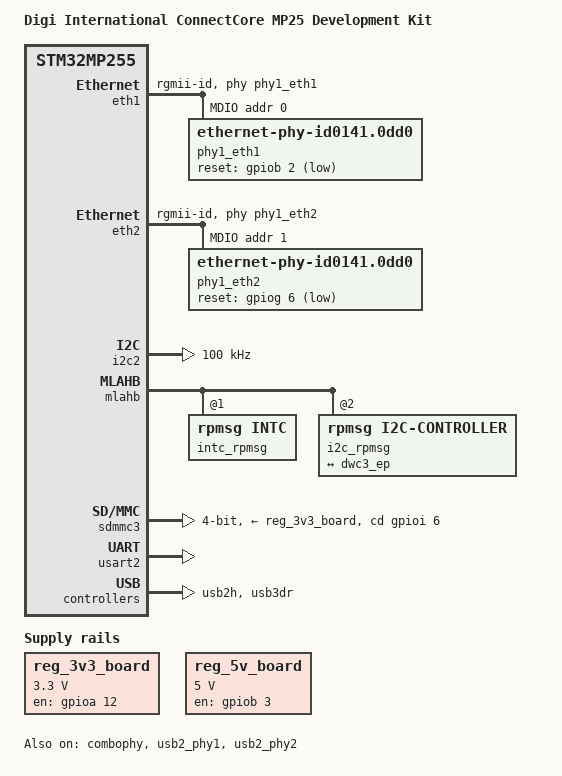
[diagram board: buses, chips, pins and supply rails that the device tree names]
// SPDX-License-Identifier: (GPL-2.0-or-later OR BSD-3-Clause)
/*
 * Copyright (C) STMicroelectronics 2023 - All Rights Reserved
 * Copyright (C) 2024, Digi International Inc - All Rights Reserved
 */

/dts-v1/;

#include <dt-bindings/gpio/gpio.h>
#include <dt-bindings/input/input.h>
#include <dt-bindings/leds/common.h>
#include <dt-bindings/regulator/st,stm32mp25-regulator.h>

/* Digi ConnectCore MP25 (SOM) */
#include "ccmp25.dtsi"

/ {
	model = "Digi International ConnectCore MP25 Development Kit";
	compatible = "digi,ccmp25-dvk", "digi,ccmp25", "st,stm32mp255";

	aliases {
		ethernet0 = &eth1;
		ethernet1 = &eth2;
		serial0 = &usart2;
	};

	chosen {
		stdout-path = "serial0:115200n8";
	};

	clocks {
		pad_clk: pad-clk {
			#clock-cells = <0>;
			compatible = "fixed-clock";
			clock-frequency = <100000000>;
		};
	};

	regulators {
		compatible = "simple-bus";
		#address-cells = <1>;
		#size-cells = <0>;

		reg_3v3_board: regulator-board@1 {
			compatible = "regulator-fixed";
			reg = <1>;
			regulator-name = "3v3_board";
			regulator-min-microvolt = <3300000>;
			regulator-max-microvolt = <3300000>;
			gpio = <&gpioa 12 GPIO_ACTIVE_HIGH>; /* 3V3_BOARD_EN */
			enable-active-high;
			status = "okay";
		};

		reg_5v_board: regulator-board@2 {
			compatible = "regulator-fixed";
			reg = <2>;
			regulator-name = "5v_board";
			regulator-min-microvolt = <5000000>;
			regulator-max-microvolt = <5000000>;
			gpio = <&gpiob 3 GPIO_ACTIVE_HIGH>; /* 5V_BOARD_EN */
			enable-active-high;
			status = "okay";
		};
	};
};

&combophy {
	clocks = <&rcc CK_BUS_USB3PCIEPHY>, <&rcc CK_KER_USB3PCIEPHY>, <&pad_clk>;
	clock-names = "apb-clk", "ker-clk", "pad-clk";
	status = "okay";
};

&eth1 {
	status = "okay";
	pinctrl-0 = <&eth1_rgmii_pins_a &eth1_mdio_pins_a>;
	pinctrl-names = "default";
	phy-mode = "rgmii-id";
	max-speed = <1000>;
	phy-handle = <&phy1_eth1>;
	snps,ext-systime;

	/* ETH1 connected to the mdio bus ETH1_MDIO */
	mdio1 {
		#address-cells = <1>;
		#size-cells = <0>;
		compatible = "snps,dwmac-mdio";

		phy1_eth1: ethernet-phy@0 {
			compatible = "ethernet-phy-id0141.0dd0"; /* PHY ID for Marvell 88E1512 */
			reset-gpios =  <&gpiob 2 GPIO_ACTIVE_LOW>; /* ETH1_RST */
			reset-assert-us = <1000>;
			reset-deassert-us = <2000>;
			reg = <0>;
		};
	};
};

&eth2 {
	status = "okay";
	pinctrl-0 = <&eth2_rgmii_pins_a>;
	pinctrl-names = "default";
	phy-mode = "rgmii-id";
	max-speed = <1000>;
	phy-handle = <&phy1_eth2>;
	st,eth-ptp-from-rcc;

	mdio1 {
		#address-cells = <1>;
		#size-cells = <0>;
		compatible = "snps,dwmac-mdio";
		phy1_eth2: ethernet-phy@1 {
			compatible = "ethernet-phy-id0141.0dd0"; /* PHY ID for Marvell 88E1512 */
			reset-gpios =  <&gpiog 6 GPIO_ACTIVE_LOW>; /* ETH2_RST */
			reset-assert-us = <1000>;
			reset-deassert-us = <2000>;
			reg = <1>;
		};
	};
};

&i2c2 {
	pinctrl-names = "default", "sleep";
	pinctrl-0 = <&i2c2_pins_a>;
	pinctrl-1 = <&i2c2_sleep_pins_a>;
	i2c-scl-rising-time-ns = <185>;
	i2c-scl-falling-time-ns = <20>;
	clock-frequency = <100000>;
	status = "okay";
	/* spare dmas for other usage */
	/delete-property/dmas;
	/delete-property/dma-names;
};

&mlahb {
	intc_rpmsg: interrupt-controller@1 {
		compatible = "rpmsg,intc";
		reg = <1 0>;
		#interrupt-cells = <1>;
		interrupt-controller;
	};

	i2c_rpmsg: i2c@2 {
		compatible = "rpmsg,i2c-controller";
		reg = <2 0>;
		rpmsg,dev-id = "rpmsg_i2c";
		#address-cells = <1>;
		#size-cells = <0>;
		status = "okay";

		typec@35 {
			compatible = "st,stm32mp25-typec";
			reg = <0x35>;
			interrupts-extended = <&intc_rpmsg 0>;
			status = "okay";
			connector {
				compatible = "usb-c-connector";
				label = "USB-C";

				port {
					typec_ep: endpoint {
						remote-endpoint = <&dwc3_ep>;
					};
				};
			};
		};
	};
};

/* Micro SD */
&sdmmc3 {
	pinctrl-names = "default", "opendrain", "sleep";
	pinctrl-0 = <&sdmmc3_b4_pins_a>;
	pinctrl-1 = <&sdmmc3_b4_od_pins_a>;
	pinctrl-2 = <&sdmmc3_b4_sleep_pins_a>;
	cd-gpios = <&gpioi 6 GPIO_ACTIVE_HIGH>;
	disable-wp;
	st,neg-edge;
	no-1-8-v;
	bus-width = <4>;
	vmmc-supply = <&reg_3v3_board>; /* card's VDD pin */
	vqmmc-supply = <&scmi_vddio3>;
	status = "okay";
};

/* Console A35 */
&usart2 {
	pinctrl-names = "default", "idle", "sleep";
	pinctrl-0 = <&usart2_pins_a>;
	pinctrl-1 = <&usart2_idle_pins_a>;
	pinctrl-2 = <&usart2_sleep_pins_a>;
	/delete-property/dmas;
	/delete-property/dma-names;
	status = "okay";
};

&usb2_phy1 {
	vdd33-supply = <&scmi_vdd3v3_usb>;
	vdda18-supply = <&reg_5v_board>;
	status = "okay";
};

&usb2_phy2 {
	vdd33-supply = <&scmi_vdd3v3_usb>;
	vdda18-supply = <&reg_5v_board>;
	status = "okay";
};

&usb2h {
	status = "okay";

	usb2h_ohci: usb@482e0000 {
		status = "disabled";
	};
};

&usb3dr {
	status = "okay";

	dwc3: usb@48300000 {
		maximum-speed = "high-speed";
		usb-role-switch;
		port {
			dwc3_ep: endpoint {
				remote-endpoint = <&typec_ep>;
			};
		};
	};
};
